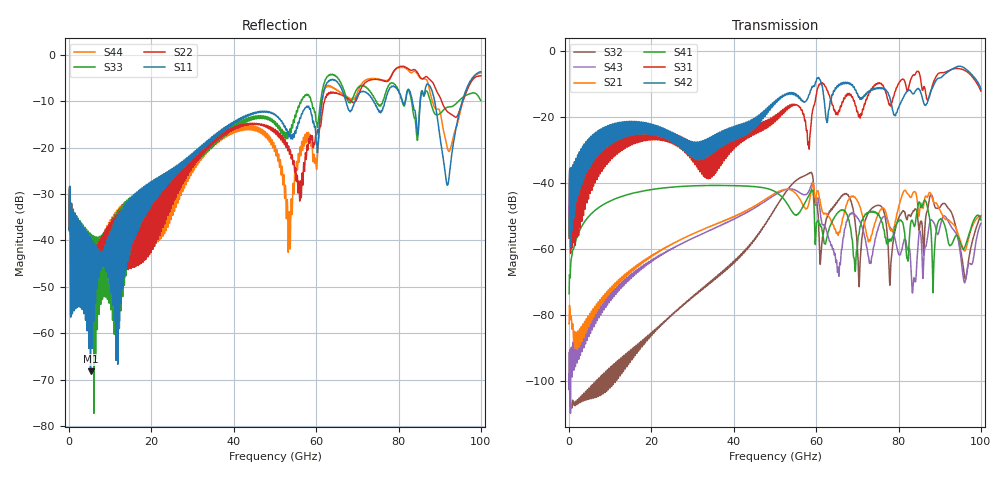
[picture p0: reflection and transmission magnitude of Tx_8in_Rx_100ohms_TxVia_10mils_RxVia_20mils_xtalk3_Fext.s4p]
! Info: Touchstone file created by Circ.  Input file=Tx_8in_Rx_100ohms_TxVia_10mils_RxVia_20mils.circ
# Hz S RI R 50
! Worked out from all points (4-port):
!   10000 points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, 10 MHz to 100 GHz, reference 50 ohm
!   strongest paths, dB at 10 MHz, 25.01 GHz, 50.01 GHz, 75.01 GHz, 100 GHz:
!     S42: -56.0, -24.5, -15.9, -11.1, -11.3
!     S31: -56.6, -24.7, -21.3, -9.5, -12.0
!     S41: -73.4, -41.1, -42.5, -49.5, -51.0
!     S21: -82.5, -58.4, -43.0, -49.4, -50.1
!     S43: -97.8, -59.8, -43.5, -53.7, -52.1
!     S32: -91.3, -79.7, -47.6, -46.6, -49.8
!   lowest |S11| = -68.2 dB at 5.21 GHz (marker M1), VSWR 1.00, Z = 50 + j0.0302 ohm
!   |S11| at or under -10 dB: start of sweep to 61.38 GHz; 73.94 GHz to 76.72 GHz (2.78 GHz wide, 3.69 % of centre); 88.77 GHz to 95.48 GHz (6.714 GHz wide, 7.29 % of centre) (the widest 3 of 6)
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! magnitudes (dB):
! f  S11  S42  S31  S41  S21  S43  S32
! 10 MHz  -37.9  -56.0  -56.6  -73.4  -82.5  -97.8  -91.3
! 5.21 GHz  -68.2  -28.7  -29.7  -49.4  -82.3  -85.3  -101.6
! 58.42 GHz  -11.7  -12.7  -26.7  -43.1  -44.9  -41.8  -36.8
! 70.45 GHz  -8.3  -13.7  -19.2  -55.0  -46.6  -51.3  -71.1
! 83.69 GHz  -11.5  -12.8  -7.0  -52.7  -42.6  -68.9  -48.3
! 91.87 GHz  -28.1  -6.3  -6.0  -56.4  -50.9  -50.9  -47.2
! 100 GHz  -3.7  -11.3  -12.0  -51.0  -50.1  -52.1  -49.8
